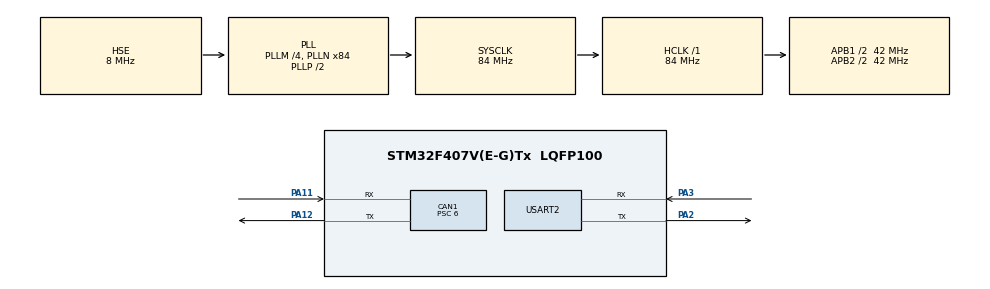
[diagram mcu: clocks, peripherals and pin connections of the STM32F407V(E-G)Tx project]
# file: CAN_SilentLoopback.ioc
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CAN1.BS1=CAN_BS1_12TQ
CAN1.CalculateBaudRate=500000
CAN1.CalculateTimeBit=2000
CAN1.CalculateTimeQuantum=142.85714285714286
CAN1.Mode=CAN_MODE_SILENT_LOOPBACK
CAN1.NART=ENABLE
CAN1.Prescaler=6
Mcu.Family=STM32F4
Mcu.Name=STM32F407V(E-G)Tx
Mcu.Package=LQFP100
NVIC.CAN1_RX0_IRQn=true\:0\:0\:false\:false\:true\:true\:true\:true
NVIC.PriorityGroup=NVIC_PRIORITYGROUP_0
PA11.GPIO_PuPd=GPIO_PULLUP
PA11.Mode=CAN_Activate
PA11.Signal=CAN1_RX
PA12.Mode=CAN_Activate
PA12.Signal=CAN1_TX
PA13.Mode=Serial_Wire
PA13.Signal=SYS_JTMS-SWDIO
PA14.Mode=Serial_Wire
PA14.Signal=SYS_JTCK-SWCLK
PA2.Mode=Asynchronous
PA2.Signal=USART2_TX
PA3.Mode=Asynchronous
PA3.Signal=USART2_RX
PH0-OSC_IN.Mode=HSE-External-Oscillator
PH0-OSC_IN.Signal=RCC_OSC_IN
PH1-OSC_OUT.Mode=HSE-External-Oscillator
PH1-OSC_OUT.Signal=RCC_OSC_OUT
ProjectManager.HeapSize=0x200
ProjectManager.StackSize=0x400
ProjectManager.TargetToolchain=STM32CubeIDE
RCC.48MHZClocksFreq_Value=24000000
RCC.AHBFreq_Value=84000000
RCC.APB1CLKDivider=RCC_HCLK_DIV2
RCC.APB1Freq_Value=42000000
RCC.APB1TimFreq_Value=84000000
RCC.APB2CLKDivider=RCC_HCLK_DIV2
RCC.APB2Freq_Value=42000000
RCC.APB2TimFreq_Value=84000000
RCC.CortexFreq_Value=84000000
RCC.HCLKFreq_Value=84000000
RCC.HSE_VALUE=8000000
RCC.HSI_VALUE=16000000
RCC.PLLM=4
RCC.PLLN=84
RCC.PLLQ=7
RCC.PLLSourceVirtual=RCC_PLLSOURCE_HSE
RCC.SYSCLKFreq_VALUE=84000000
RCC.SYSCLKSource=RCC_SYSCLKSOURCE_PLLCLK
RCC.VCOOutputFreq_Value=168000000
USART2.VirtualMode=VM_ASYNC
board=STM32F407G-DISC1

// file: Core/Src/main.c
/* USER CODE BEGIN Header */
/**
  ******************************************************************************
  * @file           : main.c
  * @brief          : Main program body
  ******************************************************************************
  * @attention
  *
  * Copyright (c) 2026 STMicroelectronics.
  * All rights reserved.
  *
  * This software is licensed under terms that can be found in the LICENSE file
  * in the root directory of this software component.
  * If no LICENSE file comes with this software, it is provided AS-IS.
  *
  ******************************************************************************
  */
/* USER CODE END Header */
#include "main.h"

/* USER CODE BEGIN Includes */

#include "string.h"
#include "stdio.h"

/* USER CODE END Includes */

/* USER CODE BEGIN PM */

CAN_TxHeaderTypeDef txHeader;
CAN_RxHeaderTypeDef rxHeader;

uint8_t txData[8];
uint8_t rxData[8];

uint32_t txMailbox;

char msg[100];
uint32_t error_can;
HAL_CAN_StateTypeDef state_can;

/* USER CODE END PM */

CAN_HandleTypeDef hcan1;

UART_HandleTypeDef huart2;

void SystemClock_Config(void);
static void MX_GPIO_Init(void);
static void MX_CAN1_Init(void);
static void MX_USART2_UART_Init(void);

/* USER CODE BEGIN 0 */

void CAN_Filter_Config(void)
{
    CAN_FilterTypeDef filter;

    filter.FilterActivation = ENABLE;
    filter.FilterBank = 0;
    filter.SlaveStartFilterBank = 14;
    filter.FilterFIFOAssignment = CAN_FILTER_FIFO0;

    filter.FilterIdHigh = 0x0000;
    filter.FilterIdLow  = 0x0000;

    filter.FilterMaskIdHigh = 0x0000;
    filter.FilterMaskIdLow  = 0x0000;

    filter.FilterMode = CAN_FILTERMODE_IDMASK;
    filter.FilterScale = CAN_FILTERSCALE_32BIT;

    HAL_CAN_ConfigFilter(&hcan1, &filter);
}

void HAL_CAN_RxFifo0MsgPendingCallback(CAN_HandleTypeDef *hcan)
{
    HAL_CAN_GetRxMessage(hcan, CAN_RX_FIFO0, &rxHeader, rxData);

    sprintf(msg, "ID:0x%03X Data:%02X %02X %02X\r\n",
            rxHeader.StdId,
            rxData[0],
            rxData[1],
            rxData[2]);

    HAL_UART_Transmit(&huart2, (uint8_t*)msg, strlen(msg), 100);
}

/* USER CODE END 0 */

int main(void)
{

  /* MCU Configuration--------------------------------------------------------*/

  /* Reset of all peripherals, Initializes the Flash interface and the Systick. */
  HAL_Init();

  /* Configure the system clock */
  SystemClock_Config();

  /* Initialize all configured peripherals */
  MX_GPIO_Init();
  MX_CAN1_Init();
  MX_USART2_UART_Init();
  /* USER CODE BEGIN 2 */

  state_can = HAL_CAN_GetState(&hcan1);

  CAN_Filter_Config();
  HAL_CAN_Start(&hcan1);

  state_can = HAL_CAN_GetState(&hcan1);

  HAL_CAN_ActivateNotification(&hcan1, CAN_IT_RX_FIFO0_MSG_PENDING);

  txHeader.StdId = 0x123;
  txHeader.ExtId = 0x00;
  txHeader.IDE   = CAN_ID_STD;
  txHeader.RTR   = CAN_RTR_DATA;
  txHeader.DLC   = 3;

  txData[0] = 0x11;
  txData[1] = 0x22;
  txData[2] = 0x33;

  if (HAL_CAN_AddTxMessage(&hcan1, &txHeader, txData, &txMailbox) != HAL_OK)
  {
	  error_can = HAL_CAN_GetError(&hcan1);
      Error_Handler();  // or print something
  }

  /* USER CODE END 2 */

  /* Infinite loop */
  while (1)
  {

  }
}

void SystemClock_Config(void)
{
  RCC_OscInitTypeDef RCC_OscInitStruct = {0};
  RCC_ClkInitTypeDef RCC_ClkInitStruct = {0};

  /** Configure the main internal regulator output voltage
  */
  __HAL_RCC_PWR_CLK_ENABLE();
  __HAL_PWR_VOLTAGESCALING_CONFIG(PWR_REGULATOR_VOLTAGE_SCALE1);

  /** Initializes the RCC Oscillators according to the specified parameters
  * in the RCC_OscInitTypeDef structure.
  */
  RCC_OscInitStruct.OscillatorType = RCC_OSCILLATORTYPE_HSE;
  RCC_OscInitStruct.HSEState = RCC_HSE_ON;
  RCC_OscInitStruct.PLL.PLLState = RCC_PLL_ON;
  RCC_OscInitStruct.PLL.PLLSource = RCC_PLLSOURCE_HSE;
  RCC_OscInitStruct.PLL.PLLM = 4;
  RCC_OscInitStruct.PLL.PLLN = 84;
  RCC_OscInitStruct.PLL.PLLP = RCC_PLLP_DIV2;
  RCC_OscInitStruct.PLL.PLLQ = 7;
  if (HAL_RCC_OscConfig(&RCC_OscInitStruct) != HAL_OK)
  {
    Error_Handler();
  }

  /** Initializes the CPU, AHB and APB buses clocks
  */
  RCC_ClkInitStruct.ClockType = RCC_CLOCKTYPE_HCLK|RCC_CLOCKTYPE_SYSCLK
                              |RCC_CLOCKTYPE_PCLK1|RCC_CLOCKTYPE_PCLK2;
  RCC_ClkInitStruct.SYSCLKSource = RCC_SYSCLKSOURCE_PLLCLK;
  RCC_ClkInitStruct.AHBCLKDivider = RCC_SYSCLK_DIV1;
  RCC_ClkInitStruct.APB1CLKDivider = RCC_HCLK_DIV2;
  RCC_ClkInitStruct.APB2CLKDivider = RCC_HCLK_DIV2;

  if (HAL_RCC_ClockConfig(&RCC_ClkInitStruct, FLASH_LATENCY_2) != HAL_OK)
  {
    Error_Handler();
  }
}

static void MX_CAN1_Init(void)
{

  hcan1.Instance = CAN1;
  hcan1.Init.Prescaler = 6;
  hcan1.Init.Mode = CAN_MODE_SILENT_LOOPBACK;
  hcan1.Init.SyncJumpWidth = CAN_SJW_1TQ;
  hcan1.Init.TimeSeg1 = CAN_BS1_12TQ;
  hcan1.Init.TimeSeg2 = CAN_BS2_1TQ;
  hcan1.Init.TimeTriggeredMode = DISABLE;
  hcan1.Init.AutoBusOff = DISABLE;
  hcan1.Init.AutoWakeUp = DISABLE;
  hcan1.Init.AutoRetransmission = ENABLE;
  hcan1.Init.ReceiveFifoLocked = DISABLE;
  hcan1.Init.TransmitFifoPriority = DISABLE;
  if (HAL_CAN_Init(&hcan1) != HAL_OK)
  {
    Error_Handler();
  }

}

static void MX_USART2_UART_Init(void)
{

  huart2.Instance = USART2;
  huart2.Init.BaudRate = 115200;
  huart2.Init.WordLength = UART_WORDLENGTH_8B;
  huart2.Init.StopBits = UART_STOPBITS_1;
  huart2.Init.Parity = UART_PARITY_NONE;
  huart2.Init.Mode = UART_MODE_TX_RX;
  huart2.Init.HwFlowCtl = UART_HWCONTROL_NONE;
  huart2.Init.OverSampling = UART_OVERSAMPLING_16;
  if (HAL_UART_Init(&huart2) != HAL_OK)
  {
    Error_Handler();
  }

}

static void MX_GPIO_Init(void)
{

  /* GPIO Ports Clock Enable */
  __HAL_RCC_GPIOH_CLK_ENABLE();
  __HAL_RCC_GPIOA_CLK_ENABLE();

}

void Error_Handler(void)
{
  __disable_irq();
  while (1)
  {
  }
}
